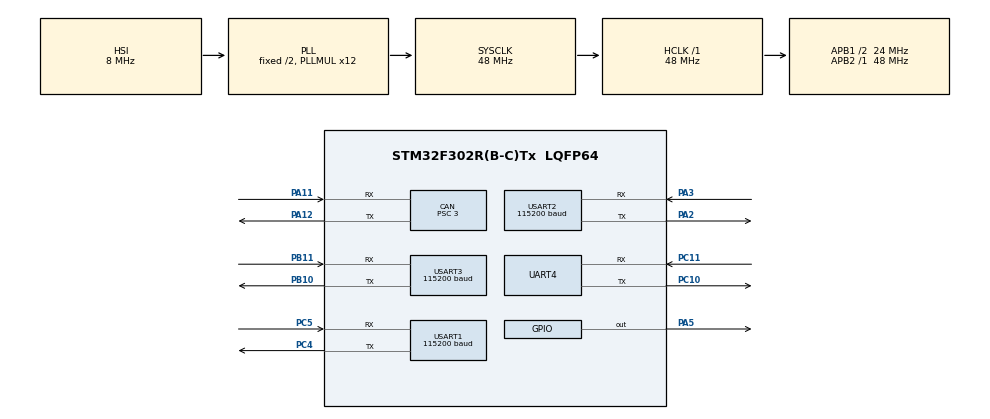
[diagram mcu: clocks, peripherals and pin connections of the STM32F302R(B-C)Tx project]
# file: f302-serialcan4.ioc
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CAN.BS1=CAN_BS1_2TQ
CAN.BS2=CAN_BS2_5TQ
CAN.CalculateBaudRate=1000000
CAN.CalculateTimeBit=1000
CAN.CalculateTimeQuantum=125.0
CAN.Prescaler=3
Dma.Request0=UART4_RX
Dma.Request1=USART1_RX
Dma.Request2=USART2_RX
Dma.Request3=USART3_RX
Dma.UART4_RX.0.Direction=DMA_PERIPH_TO_MEMORY
Dma.UART4_RX.0.Instance=DMA2_Channel3
Dma.UART4_RX.0.MemDataAlignment=DMA_MDATAALIGN_BYTE
Dma.UART4_RX.0.MemInc=DMA_MINC_ENABLE
Dma.UART4_RX.0.Mode=DMA_NORMAL
Dma.UART4_RX.0.PeriphDataAlignment=DMA_PDATAALIGN_BYTE
Dma.UART4_RX.0.PeriphInc=DMA_PINC_DISABLE
Dma.UART4_RX.0.Priority=DMA_PRIORITY_LOW
Dma.USART1_RX.1.Direction=DMA_PERIPH_TO_MEMORY
Dma.USART1_RX.1.Instance=DMA1_Channel5
Dma.USART1_RX.1.MemDataAlignment=DMA_MDATAALIGN_BYTE
Dma.USART1_RX.1.MemInc=DMA_MINC_ENABLE
Dma.USART1_RX.1.Mode=DMA_NORMAL
Dma.USART1_RX.1.PeriphDataAlignment=DMA_PDATAALIGN_BYTE
Dma.USART1_RX.1.PeriphInc=DMA_PINC_DISABLE
Dma.USART1_RX.1.Priority=DMA_PRIORITY_LOW
Dma.USART2_RX.2.Direction=DMA_PERIPH_TO_MEMORY
Dma.USART2_RX.2.Instance=DMA1_Channel6
Dma.USART2_RX.2.MemDataAlignment=DMA_MDATAALIGN_BYTE
Dma.USART2_RX.2.MemInc=DMA_MINC_ENABLE
Dma.USART2_RX.2.Mode=DMA_NORMAL
Dma.USART2_RX.2.PeriphDataAlignment=DMA_PDATAALIGN_BYTE
Dma.USART2_RX.2.PeriphInc=DMA_PINC_DISABLE
Dma.USART2_RX.2.Priority=DMA_PRIORITY_LOW
Dma.USART3_RX.3.Direction=DMA_PERIPH_TO_MEMORY
Dma.USART3_RX.3.Instance=DMA1_Channel3
Dma.USART3_RX.3.MemDataAlignment=DMA_MDATAALIGN_BYTE
Dma.USART3_RX.3.MemInc=DMA_MINC_ENABLE
Dma.USART3_RX.3.Mode=DMA_NORMAL
Dma.USART3_RX.3.PeriphDataAlignment=DMA_PDATAALIGN_BYTE
Dma.USART3_RX.3.PeriphInc=DMA_PINC_DISABLE
Dma.USART3_RX.3.Priority=DMA_PRIORITY_LOW
Mcu.Family=STM32F3
Mcu.Name=STM32F302R(B-C)Tx
Mcu.Package=LQFP64
NVIC.DMA1_Channel3_IRQn=true\:0\:0\:false\:false\:true\:false\:true\:true
NVIC.DMA1_Channel5_IRQn=true\:0\:0\:false\:false\:true\:false\:true\:true
NVIC.DMA1_Channel6_IRQn=true\:0\:0\:false\:false\:true\:false\:true\:true
NVIC.DMA2_Channel3_IRQn=true\:0\:0\:false\:false\:true\:false\:true\:true
NVIC.PriorityGroup=NVIC_PRIORITYGROUP_4
NVIC.UART4_IRQn=true\:0\:0\:false\:false\:true\:true\:true\:true
NVIC.USART1_IRQn=true\:0\:0\:false\:false\:true\:true\:true\:true
NVIC.USART2_IRQn=true\:0\:0\:false\:false\:true\:true\:true\:true
NVIC.USART3_IRQn=true\:0\:0\:false\:false\:true\:true\:true\:true
NVIC.USB_LP_CAN_RX0_IRQn=true\:0\:0\:false\:false\:true\:true\:true\:true
PA11.Mode=CAN_Activate
PA11.Signal=CAN_RX
PA12.Mode=CAN_Activate
PA12.Signal=CAN_TX
PA2.Mode=Asynchronous
PA2.Signal=USART2_TX
PA3.Mode=Asynchronous
PA3.Signal=USART2_RX
PA5.Signal=GPIO_Output
PB10.Mode=Asynchronous
PB10.Signal=USART3_TX
PB11.Mode=Asynchronous
PB11.Signal=USART3_RX
PC10.Mode=Asynchronous
PC10.Signal=UART4_TX
PC11.Mode=Asynchronous
PC11.Signal=UART4_RX
PC14-OSC32_IN.Mode=LSE-External-Oscillator
PC14-OSC32_IN.Signal=RCC_OSC32_IN
PC15-OSC32_OUT.Mode=LSE-External-Oscillator
PC15-OSC32_OUT.Signal=RCC_OSC32_OUT
PC4.Mode=Asynchronous
PC4.Signal=USART1_TX
PC5.Mode=Asynchronous
PC5.Signal=USART1_RX
PF0-OSC_IN.Mode=HSE-External-Oscillator
PF0-OSC_IN.Signal=RCC_OSC_IN
PF1-OSC_OUT.Mode=HSE-External-Oscillator
PF1-OSC_OUT.Signal=RCC_OSC_OUT
ProjectManager.HeapSize=0x200
ProjectManager.StackSize=0x400
ProjectManager.TargetToolchain=STM32CubeIDE
RCC.AHBFreq_Value=48000000
RCC.APB1CLKDivider=RCC_HCLK_DIV2
RCC.APB1Freq_Value=24000000
RCC.APB1TimFreq_Value=48000000
RCC.APB2Freq_Value=48000000
RCC.APB2TimFreq_Value=48000000
RCC.CortexFreq_Value=48000000
RCC.HCLKFreq_Value=48000000
RCC.HSE_VALUE=8000000
RCC.HSI_VALUE=8000000
RCC.PLLMUL=RCC_PLL_MUL12
RCC.SYSCLKFreq_VALUE=48000000
RCC.SYSCLKSourceVirtual=RCC_SYSCLKSOURCE_PLLCLK
RCC.USBFreq_Value=48000000
USART1.BaudRate=115200
USART1.VirtualMode-Asynchronous=VM_ASYNC
USART2.BaudRate=115200
USART2.VirtualMode-Asynchronous=VM_ASYNC
USART3.BaudRate=115200
USART3.VirtualMode-Asynchronous=VM_ASYNC
board=custom

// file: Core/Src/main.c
/* USER CODE BEGIN Header */
/**
  ******************************************************************************
  * @file           : main.c
  * @brief          : Main program body
  ******************************************************************************
  * @attention
  *
  * Copyright (c) 2026 STMicroelectronics.
  * All rights reserved.
  *
  * This software is licensed under terms that can be found in the LICENSE file
  * in the root directory of this software component.
  * If no LICENSE file comes with this software, it is provided AS-IS.
  *
  ******************************************************************************
  */
/* USER CODE END Header */
#include "main.h"

/* USER CODE BEGIN Includes */
#include <string.h>
#include <stdio.h>
#include <stdlib.h>
#include <stdint.h>
#include <time.h>
#include "serialcan.h"
/* USER CODE END Includes */

/* USER CODE BEGIN PD */
#define MAXIDs 50
#define buffers 5
#define buffer_size 50
/* USER CODE END PD */

CAN_HandleTypeDef hcan;

UART_HandleTypeDef huart4;
UART_HandleTypeDef huart1;
UART_HandleTypeDef huart2;
UART_HandleTypeDef huart3;
DMA_HandleTypeDef hdma_uart4_rx;
DMA_HandleTypeDef hdma_usart1_rx;
DMA_HandleTypeDef hdma_usart2_rx;
DMA_HandleTypeDef hdma_usart3_rx;

/* USER CODE BEGIN PV */
uint8_t UART1_rxBuffer[50] = {0};
CAN_RxHeaderTypeDef rxHeader; //CAN Bus Transmit Header
CAN_TxHeaderTypeDef txHeader; //CAN Bus Receive Header
uint8_t canRX[8] = {0,0,0,0,0,0,0,0};  //CAN Bus Receive Buffer
CAN_FilterTypeDef canfil; //CAN Bus Filter
uint32_t canMailbox; //CAN Bus Mail box variable

//volatile int head = 0;
//volatile int tail = 0;
//uint8_t circular_buffer[buffers][buffer_size];
//uint8_t* fillbuffer = circular_buffer[0];
//uint8_t* usebuffer = circular_buffer[0];

volatile int head1 = 0;
volatile int tail1 = 0;
uint8_t circular_buffer1[buffers][buffer_size];
uint8_t* fillbuffer1 = circular_buffer1[0];
uint8_t* usebuffer1 = circular_buffer1[0];

volatile int head2 = 0;
volatile int tail2 = 0;
uint8_t circular_buffer2[buffers][buffer_size];
uint8_t* fillbuffer2 = circular_buffer2[0];
uint8_t* usebuffer2 = circular_buffer2[0];

volatile int head3 = 0;
volatile int tail3 = 0;
uint8_t circular_buffer3[buffers][buffer_size];
uint8_t* fillbuffer3 = circular_buffer3[0];
uint8_t* usebuffer3 = circular_buffer3[0];

volatile int head4 = 0;
volatile int tail4 = 0;
uint8_t circular_buffer4[buffers][buffer_size];
uint8_t* fillbuffer4 = circular_buffer4[0];
uint8_t* usebuffer4 = circular_buffer4[0];
/* USER CODE END PV */

void SystemClock_Config(void);
static void MX_GPIO_Init(void);
static void MX_DMA_Init(void);
static void MX_CAN_Init(void);
static void MX_UART4_Init(void);
static void MX_USART1_UART_Init(void);
static void MX_USART2_UART_Init(void);
static void MX_USART3_UART_Init(void);

int main(void)
{

  /* MCU Configuration--------------------------------------------------------*/

  /* Reset of all peripherals, Initializes the Flash interface and the Systick. */
  HAL_Init();

  /* Configure the system clock */
  SystemClock_Config();

  /* Initialize all configured peripherals */
  MX_GPIO_Init();
  MX_DMA_Init();
  MX_CAN_Init();
  MX_UART4_Init();
  MX_USART1_UART_Init();
  MX_USART2_UART_Init();
  MX_USART3_UART_Init();
  /* USER CODE BEGIN 2 */
  canfil.FilterBank = 0;
  	canfil.FilterMode = CAN_FILTERMODE_IDMASK;
  	canfil.FilterFIFOAssignment = CAN_RX_FIFO0;
  	canfil.FilterIdHigh = 0;
  	canfil.FilterIdLow = 0;
  	canfil.FilterMaskIdHigh = 0;
  	canfil.FilterMaskIdLow = 0;
  	canfil.FilterScale = CAN_FILTERSCALE_32BIT;
  	canfil.FilterActivation = ENABLE;
  	canfil.SlaveStartFilterBank = 14;

  	txHeader.DLC = 8; // Number of bites to be transmitted max- 8
  	txHeader.IDE = CAN_ID_EXT;
  	txHeader.RTR = CAN_RTR_DATA;
  	txHeader.StdId = 0x030;
  	txHeader.ExtId = 0x02;
  	txHeader.TransmitGlobalTime = DISABLE;

  	HAL_CAN_ConfigFilter(&hcan,&canfil); //Initialize CAN Filter
  	HAL_CAN_Start(&hcan); //Initialize CAN Bus
  	HAL_CAN_ActivateNotification(&hcan,CAN_IT_RX_FIFO0_MSG_PENDING);// Initialize CAN Bus Rx Interrupt
  	//	HAL_UARTEx_ReceiveToIdle_IT(&huart1, UART1_rxBuffer, 50);
  	HAL_UARTEx_ReceiveToIdle_DMA(&huart1, fillbuffer1, buffer_size);
  	HAL_UARTEx_ReceiveToIdle_DMA(&huart2, fillbuffer2, buffer_size);
  	HAL_UARTEx_ReceiveToIdle_DMA(&huart3, fillbuffer3, buffer_size);
  	HAL_UARTEx_ReceiveToIdle_DMA(&huart4, fillbuffer4, buffer_size);
  /* USER CODE END 2 */

  /* Infinite loop */
  /* USER CODE BEGIN WHILE */
  	generateRegistry(123456,MAXIDs,txHeader,canMailbox,&hcan);
  	HAL_GPIO_TogglePin(GPIOA,GPIO_PIN_5);
  /* USER CODE END 2 */

  /* Infinite loop */
  /* USER CODE BEGIN WHILE */
  while (1)
  {
	  if (head1 != tail1){
		usebuffer1 = circular_buffer1[tail1];
		serial_to_can(usebuffer1,huart1,txHeader,canMailbox,&hcan);
		HAL_UART_Transmit(&huart1,usebuffer1,strlen(usebuffer1),buffer_size);
		memset(circular_buffer1[tail1],0,sizeof(circular_buffer1[tail1]));
		tail1 ++;
		if (tail1 == buffers) tail1 = 0;
	//		HAL_Delay(1000);
	  }
	  if (head2 != tail2){
		usebuffer2 = circular_buffer2[tail2];
		serial_to_can(usebuffer2,huart2,txHeader,canMailbox,&hcan);
		HAL_UART_Transmit(&huart2,usebuffer2,strlen(usebuffer2),buffer_size);
		memset(circular_buffer2[tail2],0,sizeof(circular_buffer2[tail2]));
		tail2 ++;
		if (tail2 == buffers) tail2 = 0;
	//		HAL_Delay(1000);
	  }
	  if (head3 != tail3){
		usebuffer3 = circular_buffer3[tail3];
		serial_to_can(usebuffer3,huart3,txHeader,canMailbox,&hcan);
		HAL_UART_Transmit(&huart3,usebuffer3,strlen(usebuffer3),buffer_size);
		memset(circular_buffer3[tail3],0,sizeof(circular_buffer3[tail3]));
		tail3 ++;
		if (tail3 == buffers) tail3 = 0;
	//		HAL_Delay(1000);
	  }
	  if (head4 != tail4){
		usebuffer4 = circular_buffer4[tail4];
		serial_to_can(usebuffer4,huart4,txHeader,canMailbox,&hcan);
		HAL_UART_Transmit(&huart4,usebuffer4,strlen(usebuffer4),buffer_size);
		memset(circular_buffer4[tail4],0,sizeof(circular_buffer4[tail4]));
		tail4 ++;
		if (tail4 == buffers) tail4 = 0;
	//		HAL_Delay(1000);
	  }
//	  HAL_GPIO_TogglePin(GPIOA,GPIO_PIN_5);
//	  	HAL_Delay(300);
    /* USER CODE END WHILE */

  }
}

void SystemClock_Config(void)
{
  RCC_OscInitTypeDef RCC_OscInitStruct = {0};
  RCC_ClkInitTypeDef RCC_ClkInitStruct = {0};
  RCC_PeriphCLKInitTypeDef PeriphClkInit = {0};

  /** Initializes the RCC Oscillators according to the specified parameters
  * in the RCC_OscInitTypeDef structure.
  */
  RCC_OscInitStruct.OscillatorType = RCC_OSCILLATORTYPE_HSI;
  RCC_OscInitStruct.HSIState = RCC_HSI_ON;
  RCC_OscInitStruct.HSICalibrationValue = RCC_HSICALIBRATION_DEFAULT;
  RCC_OscInitStruct.PLL.PLLState = RCC_PLL_ON;
  RCC_OscInitStruct.PLL.PLLSource = RCC_PLLSOURCE_HSI;
  RCC_OscInitStruct.PLL.PLLMUL = RCC_PLL_MUL12;
  if (HAL_RCC_OscConfig(&RCC_OscInitStruct) != HAL_OK)
  {
    Error_Handler();
  }

  /** Initializes the CPU, AHB and APB buses clocks
  */
  RCC_ClkInitStruct.ClockType = RCC_CLOCKTYPE_HCLK|RCC_CLOCKTYPE_SYSCLK
                              |RCC_CLOCKTYPE_PCLK1|RCC_CLOCKTYPE_PCLK2;
  RCC_ClkInitStruct.SYSCLKSource = RCC_SYSCLKSOURCE_PLLCLK;
  RCC_ClkInitStruct.AHBCLKDivider = RCC_SYSCLK_DIV1;
  RCC_ClkInitStruct.APB1CLKDivider = RCC_HCLK_DIV2;
  RCC_ClkInitStruct.APB2CLKDivider = RCC_HCLK_DIV1;

  if (HAL_RCC_ClockConfig(&RCC_ClkInitStruct, FLASH_LATENCY_1) != HAL_OK)
  {
    Error_Handler();
  }
  PeriphClkInit.PeriphClockSelection = RCC_PERIPHCLK_USART1|RCC_PERIPHCLK_USART2
                              |RCC_PERIPHCLK_USART3|RCC_PERIPHCLK_UART4;
  PeriphClkInit.Usart1ClockSelection = RCC_USART1CLKSOURCE_PCLK2;
  PeriphClkInit.Usart2ClockSelection = RCC_USART2CLKSOURCE_PCLK1;
  PeriphClkInit.Usart3ClockSelection = RCC_USART3CLKSOURCE_PCLK1;
  PeriphClkInit.Uart4ClockSelection = RCC_UART4CLKSOURCE_PCLK1;
  if (HAL_RCCEx_PeriphCLKConfig(&PeriphClkInit) != HAL_OK)
  {
    Error_Handler();
  }
}

static void MX_CAN_Init(void)
{

  hcan.Instance = CAN;
  hcan.Init.Prescaler = 3;
  hcan.Init.Mode = CAN_MODE_NORMAL;
  hcan.Init.SyncJumpWidth = CAN_SJW_1TQ;
  hcan.Init.TimeSeg1 = CAN_BS1_2TQ;
  hcan.Init.TimeSeg2 = CAN_BS2_5TQ;
  hcan.Init.TimeTriggeredMode = DISABLE;
  hcan.Init.AutoBusOff = DISABLE;
  hcan.Init.AutoWakeUp = DISABLE;
  hcan.Init.AutoRetransmission = DISABLE;
  hcan.Init.ReceiveFifoLocked = DISABLE;
  hcan.Init.TransmitFifoPriority = DISABLE;
  if (HAL_CAN_Init(&hcan) != HAL_OK)
  {
    Error_Handler();
  }

}

static void MX_UART4_Init(void)
{

  huart4.Instance = UART4;
  huart4.Init.BaudRate = 115200;
  huart4.Init.WordLength = UART_WORDLENGTH_8B;
  huart4.Init.StopBits = UART_STOPBITS_1;
  huart4.Init.Parity = UART_PARITY_NONE;
  huart4.Init.Mode = UART_MODE_TX_RX;
  huart4.Init.HwFlowCtl = UART_HWCONTROL_NONE;
  huart4.Init.OverSampling = UART_OVERSAMPLING_16;
  huart4.Init.OneBitSampling = UART_ONE_BIT_SAMPLE_DISABLE;
  huart4.AdvancedInit.AdvFeatureInit = UART_ADVFEATURE_NO_INIT;
  if (HAL_UART_Init(&huart4) != HAL_OK)
  {
    Error_Handler();
  }

}

static void MX_USART1_UART_Init(void)
{

  huart1.Instance = USART1;
  huart1.Init.BaudRate = 115200;
  huart1.Init.WordLength = UART_WORDLENGTH_8B;
  huart1.Init.StopBits = UART_STOPBITS_1;
  huart1.Init.Parity = UART_PARITY_NONE;
  huart1.Init.Mode = UART_MODE_TX_RX;
  huart1.Init.HwFlowCtl = UART_HWCONTROL_NONE;
  huart1.Init.OverSampling = UART_OVERSAMPLING_16;
  huart1.Init.OneBitSampling = UART_ONE_BIT_SAMPLE_DISABLE;
  huart1.AdvancedInit.AdvFeatureInit = UART_ADVFEATURE_NO_INIT;
  if (HAL_UART_Init(&huart1) != HAL_OK)
  {
    Error_Handler();
  }

}

static void MX_USART2_UART_Init(void)
{

  huart2.Instance = USART2;
  huart2.Init.BaudRate = 115200;
  huart2.Init.WordLength = UART_WORDLENGTH_8B;
  huart2.Init.StopBits = UART_STOPBITS_1;
  huart2.Init.Parity = UART_PARITY_NONE;
  huart2.Init.Mode = UART_MODE_TX_RX;
  huart2.Init.HwFlowCtl = UART_HWCONTROL_NONE;
  huart2.Init.OverSampling = UART_OVERSAMPLING_16;
  huart2.Init.OneBitSampling = UART_ONE_BIT_SAMPLE_DISABLE;
  huart2.AdvancedInit.AdvFeatureInit = UART_ADVFEATURE_NO_INIT;
  if (HAL_UART_Init(&huart2) != HAL_OK)
  {
    Error_Handler();
  }

}

static void MX_USART3_UART_Init(void)
{

  huart3.Instance = USART3;
  huart3.Init.BaudRate = 115200;
  huart3.Init.WordLength = UART_WORDLENGTH_8B;
  huart3.Init.StopBits = UART_STOPBITS_1;
  huart3.Init.Parity = UART_PARITY_NONE;
  huart3.Init.Mode = UART_MODE_TX_RX;
  huart3.Init.HwFlowCtl = UART_HWCONTROL_NONE;
  huart3.Init.OverSampling = UART_OVERSAMPLING_16;
  huart3.Init.OneBitSampling = UART_ONE_BIT_SAMPLE_DISABLE;
  huart3.AdvancedInit.AdvFeatureInit = UART_ADVFEATURE_NO_INIT;
  if (HAL_UART_Init(&huart3) != HAL_OK)
  {
    Error_Handler();
  }

}

static void MX_DMA_Init(void)
{

  /* DMA controller clock enable */
  __HAL_RCC_DMA2_CLK_ENABLE();
  __HAL_RCC_DMA1_CLK_ENABLE();

  /* DMA interrupt init */
  /* DMA1_Channel3_IRQn interrupt configuration */
  HAL_NVIC_SetPriority(DMA1_Channel3_IRQn, 0, 0);
  HAL_NVIC_EnableIRQ(DMA1_Channel3_IRQn);
  /* DMA1_Channel5_IRQn interrupt configuration */
  HAL_NVIC_SetPriority(DMA1_Channel5_IRQn, 0, 0);
  HAL_NVIC_EnableIRQ(DMA1_Channel5_IRQn);
  /* DMA1_Channel6_IRQn interrupt configuration */
  HAL_NVIC_SetPriority(DMA1_Channel6_IRQn, 0, 0);
  HAL_NVIC_EnableIRQ(DMA1_Channel6_IRQn);
  /* DMA2_Channel3_IRQn interrupt configuration */
  HAL_NVIC_SetPriority(DMA2_Channel3_IRQn, 0, 0);
  HAL_NVIC_EnableIRQ(DMA2_Channel3_IRQn);

}

static void MX_GPIO_Init(void)
{
  GPIO_InitTypeDef GPIO_InitStruct = {0};

  /* GPIO Ports Clock Enable */
  __HAL_RCC_GPIOC_CLK_ENABLE();
  __HAL_RCC_GPIOF_CLK_ENABLE();
  __HAL_RCC_GPIOA_CLK_ENABLE();
  __HAL_RCC_GPIOB_CLK_ENABLE();

  /*Configure GPIO pin Output Level */
  HAL_GPIO_WritePin(GPIOA, GPIO_PIN_5, GPIO_PIN_RESET);

  /*Configure GPIO pin : PA5 */
  GPIO_InitStruct.Pin = GPIO_PIN_5;
  GPIO_InitStruct.Mode = GPIO_MODE_OUTPUT_PP;
  GPIO_InitStruct.Pull = GPIO_NOPULL;
  GPIO_InitStruct.Speed = GPIO_SPEED_FREQ_LOW;
  HAL_GPIO_Init(GPIOA, &GPIO_InitStruct);

}

/* USER CODE BEGIN 4 */
void HAL_CAN_RxFifo0MsgPendingCallback(CAN_HandleTypeDef *hcan)
{
	UART_HandleTypeDef huart[] = {huart1,huart2,huart3,huart4};
	can_to_serial(hcan,rxHeader,canRX,huart);
}

void HAL_UARTEx_RxEventCallback(UART_HandleTypeDef *huart, uint16_t Size)
{
	if (huart->Instance == huart1.Instance){
		head1 ++;
		if (head1 == buffers) head1 = 0;
		fillbuffer1 = circular_buffer1[head1];
		HAL_UARTEx_ReceiveToIdle_DMA(&huart1, fillbuffer1, buffer_size);
	}
	if (huart->Instance == huart2.Instance){
		head2 ++;
		if (head2 == buffers) head2 = 0;
		fillbuffer2 = circular_buffer2[head2];
		HAL_UARTEx_ReceiveToIdle_DMA(&huart2, fillbuffer2, buffer_size);
	}
	if (huart->Instance == huart3.Instance){
		head3 ++;
		if (head3 == buffers) head3 = 0;
		fillbuffer3 = circular_buffer3[head3];
		HAL_UARTEx_ReceiveToIdle_DMA(&huart3, fillbuffer3, buffer_size);
	}
	if (huart->Instance == huart4.Instance){
		head4 ++;
		if (head4 == buffers) head4 = 0;
		fillbuffer4 = circular_buffer4[head4];
		HAL_UARTEx_ReceiveToIdle_DMA(&huart4, fillbuffer4, buffer_size);
	}
//	head ++;
//	if (head == buffers) head = 0;
//	fillbuffer = circular_buffer[head];
//	HAL_UARTEx_ReceiveToIdle_DMA(&huart1, fillbuffer, buffer_size);
}
/* USER CODE END 4 */

void Error_Handler(void)
{
  __disable_irq();
  while (1)
  {
  }
}
